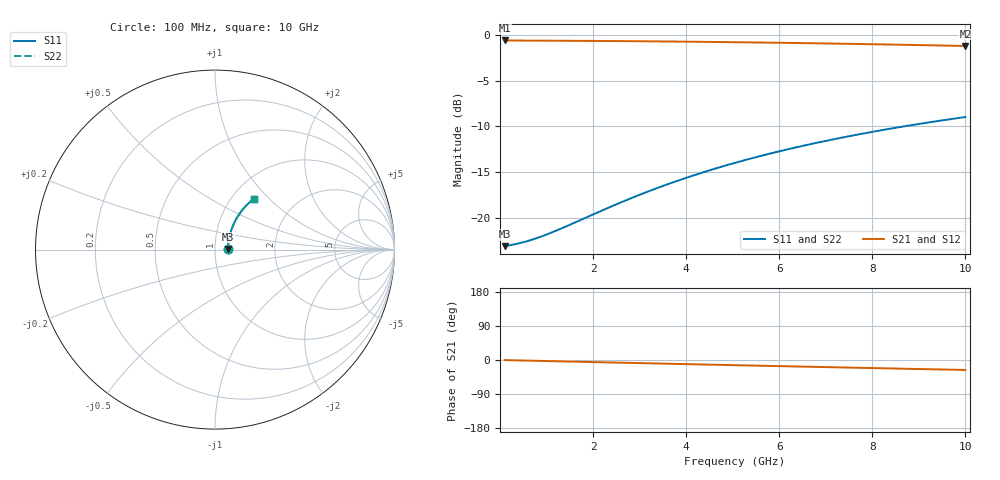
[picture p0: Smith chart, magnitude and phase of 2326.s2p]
# Hz S RI R 50.00
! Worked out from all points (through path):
!   100 points, 100 MHz to 10 GHz, reference 50 ohm
!   highest |S21| = -0.63 dB at 100 MHz (marker M1); lowest = -1.2 dB at 10 GHz (marker M2)
!   group delay of S21, straight-line fit = 7.3 ps
!   lowest |S11| = -23.0 dB at 100 MHz (marker M3), VSWR 1.15, Z = 57.6 + j0.399 ohm
!   |S11| at or under -10 dB: start of sweep to 8.673 GHz
!   |S22| runs from -23.0 to -9.0 dB; largest |S21 - S12| = 0
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1e8  0.0704 0.00345  0.9296 -0.00445  0.9296 -0.00445  0.0704 0.00345
3e8  0.0712 0.0103  0.9287 -0.0133  0.9287 -0.0133  0.0712 0.0103
5e8  0.072 0.0172  0.928 -0.0222  0.928 -0.0222  0.072 0.0172
8e8  0.0731 0.0275  0.9268 -0.0355  0.9268 -0.0355  0.0731 0.0275
1e9  0.074 0.0343  0.926 -0.0443  0.926 -0.0443  0.074 0.0343
1.2e9  0.0749 0.0411  0.925 -0.0531  0.925 -0.0531  0.0749 0.0411
1.8e9  0.0784 0.0613  0.9214 -0.0793  0.9214 -0.0793  0.0784 0.0613
2.3e9  0.0821 0.078  0.9176 -0.101  0.9176 -0.101  0.0821 0.078
2.7e9  0.0856 0.0911  0.914 -0.1182  0.914 -0.1182  0.0856 0.0911
3.1e9  0.0895 0.1041  0.91 -0.1351  0.91 -0.1351  0.0895 0.1041
3.4e9  0.0927 0.1137  0.9067 -0.1478  0.9067 -0.1478  0.0927 0.1137
3.8e9  0.0974 0.1263  0.9018 -0.1644  0.9018 -0.1644  0.0974 0.1263
4.2e9  0.1026 0.1386  0.8965 -0.1808  0.8965 -0.1808  0.1026 0.1386
4.6e9  0.1082 0.1508  0.8907 -0.1969  0.8907 -0.1969  0.1082 0.1508
5.1e9  0.1157 0.1655  0.8829 -0.2167  0.8829 -0.2167  0.1157 0.1655
5.5e9  0.1222 0.177  0.8762 -0.2323  0.8762 -0.2323  0.1222 0.177
5.9e9  0.129 0.1882  0.8691 -0.2475  0.8691 -0.2475  0.129 0.1882
6.7e9  0.1438 0.2096  0.8538 -0.2769  0.8538 -0.2769  0.1438 0.2096
7.5e9  0.1598 0.2296  0.8372 -0.305  0.8372 -0.305  0.1598 0.2296
8.4e9  0.1792 0.2503  0.817 -0.3349  0.817 -0.3349  0.1792 0.2503
9.2e9  0.1975 0.2671  0.798 -0.3599  0.798 -0.3599  0.1975 0.2671
1e10  0.2166 0.2824  0.7781 -0.3833  0.7781 -0.3833  0.2166 0.2824
